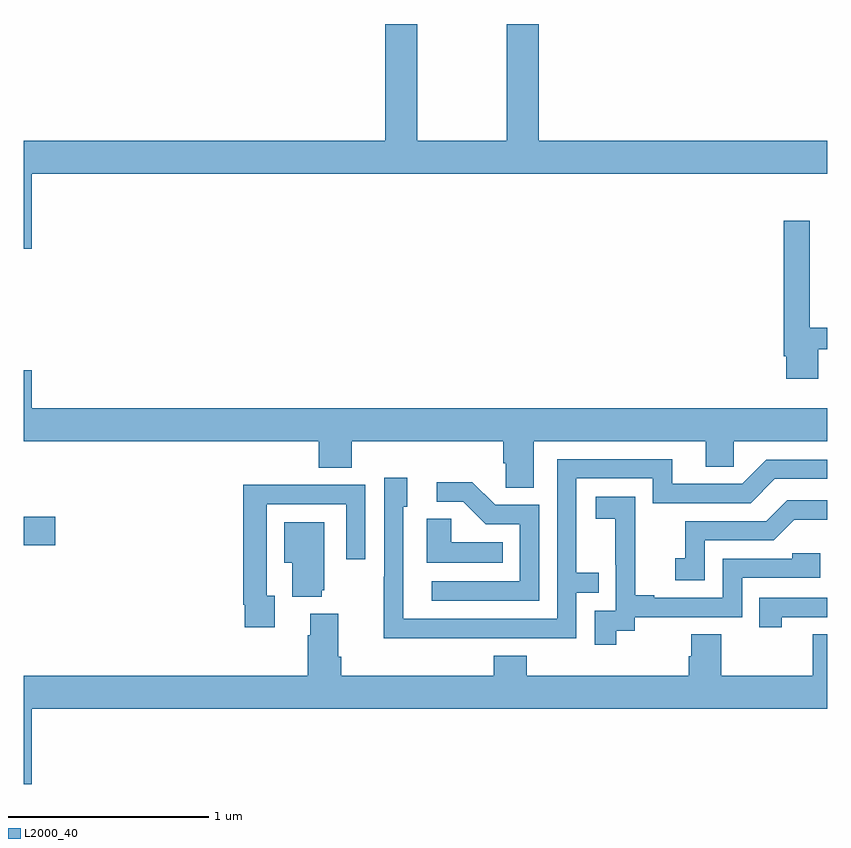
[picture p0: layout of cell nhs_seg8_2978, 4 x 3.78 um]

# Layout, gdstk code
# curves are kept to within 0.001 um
import gdstk
lib = gdstk.Library(unit=1e-6, precision=1e-09)
def R(c, l, rs):  # rectangles x0, y0, x1, y1
    for r in rs: c.add(gdstk.rectangle(r[:2], r[2:], *l))
def P(c, l, *ps):  # polygons
    for p in ps: c.add(gdstk.Polygon(p, *l))
L2000_40 = (2000, 40)

nhs_seg8_2978 = lib.new_cell('nhs_seg8_2978')
R(nhs_seg8_2978, L2000_40, [(297,1125.305,297.157,1125.447)])
P(nhs_seg8_2978, L2000_40, [(297.04,1127.156),(301,1127.156),(301,1127.32),(299.564,1127.32),(299.564,1127.9),(299.404,1127.9),(299.404,1127.32),(298.959,1127.32),(298.959,1127.9),(298.799,1127.9),(298.799,1127.32),(297,1127.32),(297,1126.782),(297.04,1126.782)],
  [(300.955,1126.281),(301,1126.281),(301,1126.389),(300.913,1126.389),(300.913,1126.921),(300.782,1126.921),(300.782,1126.246),(300.794,1126.246),(300.794,1126.134),(300.955,1126.134)],
  [(299.539,1125.824),(300.395,1125.824),(300.395,1125.697),(300.534,1125.697),(300.534,1125.824),(301,1125.824),(301,1125.988),(297.04,1125.988),(297.04,1126.177),(297,1126.177),(297,1125.824),(298.469,1125.824),(298.469,1125.691),(298.634,1125.691),(298.634,1125.824),(299.387,1125.824),(299.387,1125.715),(299.4,1125.715),(299.4,1125.592),(299.539,1125.592)],
  [(299.255,1124.844),(299.751,1124.844),(299.751,1125.069),(299.861,1125.069),(299.861,1125.17),(299.751,1125.17),(299.751,1125.639),(300.132,1125.639),(300.132,1125.516),(300.618,1125.516),(300.738,1125.636),(301,1125.636),(301,1125.732),(300.696,1125.732),(300.576,1125.612),(300.229,1125.612),(300.229,1125.735),(299.655,1125.735),(299.655,1124.94),(298.89,1124.94),(298.89,1125.498),(298.909,1125.498),(298.909,1125.643),(298.794,1125.643),(298.794,1125.149),(298.792,1125.149),(298.792,1124.843)],
  [(299.565,1125.507),(299.346,1125.507),(299.233,1125.62),(299.055,1125.62),(299.055,1125.522),(299.189,1125.522),(299.3,1125.411),(299.469,1125.411),(299.469,1125.126),(299.031,1125.126),(299.031,1125.03),(299.565,1125.03)],
  [(298.249,1125.054),(298.209,1125.054),(298.209,1125.51),(298.605,1125.51),(298.605,1125.237),(298.701,1125.237),(298.701,1125.606),(298.385,1125.606),(298.385,1125.608),(298.093,1125.608),(298.093,1125.01),(298.101,1125.01),(298.101,1124.898),(298.249,1124.898)],
  [(299.95,1124.881),(300.042,1124.881),(300.042,1124.949),(300.576,1124.949),(300.576,1125.144),(300.965,1125.144),(300.965,1125.267),(300.825,1125.267),(300.825,1125.24),(300.48,1125.24),(300.48,1125.045),(300.139,1125.045),(300.139,1125.058),(300.044,1125.058),(300.044,1125.341),(300.045,1125.341),(300.045,1125.547),(299.847,1125.547),(299.847,1125.437),(299.945,1125.437),(299.945,1125.209),(299.946,1125.209),(299.946,1124.979),(299.841,1124.979),(299.841,1124.811),(299.95,1124.811)],
  [(300.39,1125.33),(300.732,1125.33),(300.836,1125.434),(301,1125.434),(301,1125.531),(300.8,1125.531),(300.695,1125.426),(300.292,1125.426),(300.292,1125.241),(300.243,1125.241),(300.243,1125.132),(300.39,1125.132)],
  [(299.384,1125.322),(299.127,1125.322),(299.127,1125.437),(299.006,1125.437),(299.006,1125.218),(299.384,1125.218)],
  [(298.484,1125.081),(298.495,1125.081),(298.495,1125.421),(298.298,1125.421),(298.298,1125.218),(298.337,1125.218),(298.337,1125.05),(298.484,1125.05)],
  [(300.772,1124.949),(301,1124.949),(301,1125.045),(300.661,1125.045),(300.661,1124.898),(300.772,1124.898)],
  [(297.04,1124.492),(301,1124.492),(301,1124.864),(300.928,1124.864),(300.928,1124.656),(300.471,1124.656),(300.471,1124.864),(300.323,1124.864),(300.323,1124.754),(300.311,1124.754),(300.311,1124.656),(299.504,1124.656),(299.504,1124.755),(299.339,1124.755),(299.339,1124.656),(298.58,1124.656),(298.58,1124.752),(298.567,1124.752),(298.567,1124.965),(298.427,1124.965),(298.427,1124.858),(298.415,1124.858),(298.415,1124.656),(297,1124.656),(297,1124.118),(297.04,1124.118)])

lib.write_gds('nhs_seg8_2978.gds')
